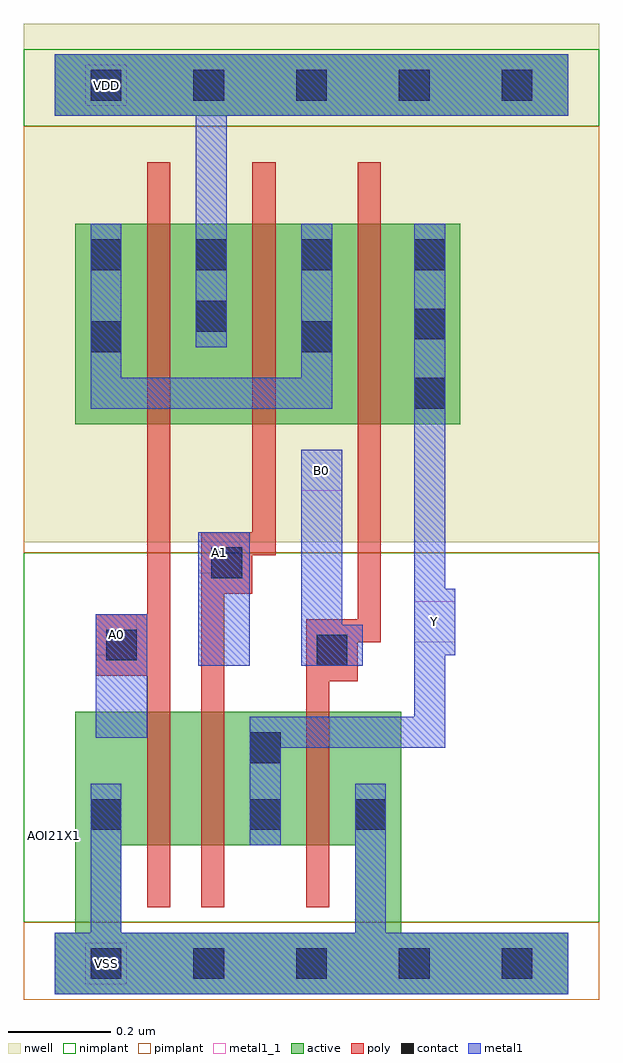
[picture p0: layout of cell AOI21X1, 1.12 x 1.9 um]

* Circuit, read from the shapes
.subckt AOI21X1 A0 A1 B0 VDD VSS Y
M1 n1 A0 VSS VSS nfet w=0.26u l=0.045u
M2 Y A1 n1 VSS nfet w=0.26u l=0.045u
M3 VSS B0 Y VSS nfet w=0.26u l=0.045u
M4 VDD A0 n2 VDD pfet w=0.39u l=0.045u
M5 n2 A1 VDD VDD pfet w=0.39u l=0.045u
M6 Y B0 n2 VDD pfet w=0.39u l=0.045u
.ends

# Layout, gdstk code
import gdstk
lib = gdstk.Library(unit=1e-6, precision=5e-10)
def R(c, l, rs):  # rectangles x0, y0, x1, y1
    for r in rs: c.add(gdstk.rectangle(r[:2], r[2:], *l))
def A(c, l, x, y, w, h, nx, ny, dx, dy):  # array of equal rectangles
    R(c, l, [(x+i*dx, y+j*dy, x+i*dx+w, y+j*dy+h) for i in range(nx) for j in range(ny)])
def P(c, l, *ps):  # polygons
    for p in ps: c.add(gdstk.Polygon(p, *l))
active = (1, 0)
nwell = (2, 0)
poly = (3, 0)
nimplant = (4, 0)
pimplant = (5, 0)
contact = (6, 0)
metal1 = (7, 0)
metal1_1 = (7, 1)

aoi21x1 = lib.new_cell('AOI21X1')
R(aoi21x1, active, [(0.04,1.05,0.79,1.44), (0,1.65,1,1.77)])
P(aoi21x1, active, [(1,0.06),(0.675,0.06),(0.675,0.49),(0.585,0.49),(0.585,0.06),(0.13,0.06),(0.13,0.23),(0.585,0.23),(0.585,0.49),(0.04,0.49),(0.04,0.06),(0,0.06),(0,-0.06),(1,-0.06)])
R(aoi21x1, nwell, [(-0.06,0.82,1.06,1.83)])
P(aoi21x1, poly, [(0.18,1.56),(0.225,1.56),(0.225,0.11),(0.18,0.11),(0.18,0.56),(0.08,0.56),(0.08,0.68),(0.18,0.68)],
  [(0.385,1.56),(0.43,1.56),(0.43,0.795),(0.385,0.795),(0.385,0.72),(0.33,0.72),(0.33,0.11),(0.285,0.11),(0.285,0.84),(0.385,0.84)],
  [(0.59,1.56),(0.635,1.56),(0.635,0.625),(0.59,0.625),(0.59,0.55),(0.535,0.55),(0.535,0.11),(0.49,0.11),(0.49,0.67),(0.59,0.67)])
R(aoi21x1, nimplant, [(-0.06,0.08,1.06,0.8), (-0.06,1.63,1.06,1.78)])
R(aoi21x1, pimplant, [(-0.06,-0.07,1.06,0.08), (-0.06,0.8,1.06,1.63)])
A(aoi21x1, contact, 0.07, -0.03, 0.06, 0.06, 5, 2, 0.2, 1.71)
A(aoi21x1, contact, 0.7, 1.08, 0.06, 0.06, 1, 3, 0, 0.135)
A(aoi21x1, contact, 0.07, 1.35, 0.06, 0.06, 3, 1, 0.205, 0)
R(aoi21x1, contact, [(0.07,0.26,0.13,0.32), (0.38,0.26,0.44,0.32), (0.585,0.26,0.645,0.32), (0.38,0.39,0.44,0.45), (0.51,0.58,0.57,0.64), (0.1,0.59,0.16,0.65), (0.305,0.75,0.365,0.81), (0.07,1.19,0.13,1.25), (0.48,1.19,0.54,1.25), (0.275,1.23,0.335,1.29)])
R(aoi21x1, metal1, [(0.08,0.44,0.18,0.68), (0.28,0.58,0.38,0.84)])
P(aoi21x1, metal1, [(0.48,1),(0.56,1),(0.56,0.66),(0.6,0.66),(0.6,0.58),(0.48,0.58)],
  [(0.07,0.35),(0.13,0.35),(0.13,0.06),(0.585,0.06),(0.585,0.35),(0.645,0.35),(0.645,0.06),(1,0.06),(1,-0.06),(0,-0.06),(0,0.06),(0.07,0.06)],
  [(0,1.77),(1,1.77),(1,1.65),(0.335,1.65),(0.335,1.2),(0.275,1.2),(0.275,1.65),(0,1.65)],
  [(0.07,1.44),(0.13,1.44),(0.13,1.14),(0.48,1.14),(0.48,1.44),(0.54,1.44),(0.54,1.08),(0.07,1.08)],
  [(0.7,1.44),(0.76,1.44),(0.76,0.73),(0.78,0.73),(0.78,0.6),(0.76,0.6),(0.76,0.42),(0.44,0.42),(0.44,0.23),(0.38,0.23),(0.38,0.48),(0.7,0.48)])
R(aoi21x1, metal1_1, [(0.06,-0.04,0.14,0.04), (0.08,0.6,0.16,0.68), (0.7,0.625,0.78,0.705), (0.28,0.76,0.36,0.84), (0.48,0.92,0.56,1), (0.06,1.67,0.14,1.75)])
aoi21x1.add(gdstk.Label('VSS', (0.1,0), layer=7, texttype=1))
aoi21x1.add(gdstk.Label('Y', (0.74,0.665), layer=7, texttype=1))
aoi21x1.add(gdstk.Label('A0', (0.12,0.64), layer=7, texttype=1))
aoi21x1.add(gdstk.Label('A1', (0.32,0.8), layer=7, texttype=1))
aoi21x1.add(gdstk.Label('B0', (0.52,0.96), layer=7, texttype=1))
aoi21x1.add(gdstk.Label('VDD', (0.1,1.71), layer=7, texttype=1))
aoi21x1.add(gdstk.Label('AOI21X1', (0,0.25), layer=63, texttype=0))

lib.write_gds('AOI21X1.gds')
